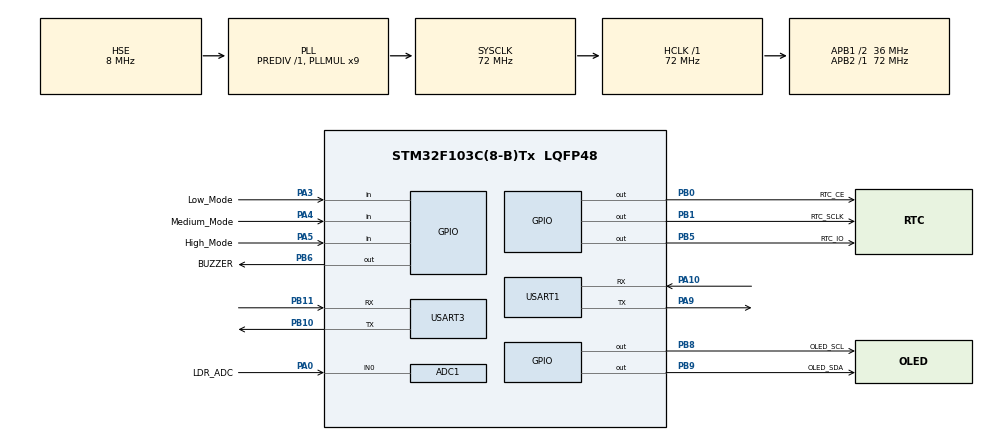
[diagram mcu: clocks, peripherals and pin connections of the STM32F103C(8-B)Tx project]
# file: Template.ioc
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ADC1.Channel-0\#ChannelRegularConversion=ADC_CHANNEL_0
ADC1.ExternalTrigConv=ADC_EXTERNALTRIGCONV_T3_TRGO
ADC1.NbrOfConversionFlag=1
ADC1.Rank-0\#ChannelRegularConversion=1
ADC1.SamplingTime-0\#ChannelRegularConversion=ADC_SAMPLETIME_239CYCLES_5
ADC1.master=1
Dma.ADC1.2.Direction=DMA_PERIPH_TO_MEMORY
Dma.ADC1.2.Instance=DMA1_Channel1
Dma.ADC1.2.MemDataAlignment=DMA_MDATAALIGN_HALFWORD
Dma.ADC1.2.MemInc=DMA_MINC_ENABLE
Dma.ADC1.2.Mode=DMA_CIRCULAR
Dma.ADC1.2.PeriphDataAlignment=DMA_PDATAALIGN_HALFWORD
Dma.ADC1.2.PeriphInc=DMA_PINC_DISABLE
Dma.ADC1.2.Priority=DMA_PRIORITY_HIGH
Dma.Request0=USART1_RX
Dma.Request1=USART1_TX
Dma.Request2=ADC1
Dma.USART1_RX.0.Direction=DMA_PERIPH_TO_MEMORY
Dma.USART1_RX.0.Instance=DMA1_Channel5
Dma.USART1_RX.0.MemDataAlignment=DMA_MDATAALIGN_BYTE
Dma.USART1_RX.0.MemInc=DMA_MINC_ENABLE
Dma.USART1_RX.0.Mode=DMA_NORMAL
Dma.USART1_RX.0.PeriphDataAlignment=DMA_PDATAALIGN_BYTE
Dma.USART1_RX.0.PeriphInc=DMA_PINC_DISABLE
Dma.USART1_RX.0.Priority=DMA_PRIORITY_HIGH
Dma.USART1_TX.1.Direction=DMA_MEMORY_TO_PERIPH
Dma.USART1_TX.1.Instance=DMA1_Channel4
Dma.USART1_TX.1.MemDataAlignment=DMA_MDATAALIGN_BYTE
Dma.USART1_TX.1.MemInc=DMA_MINC_ENABLE
Dma.USART1_TX.1.Mode=DMA_NORMAL
Dma.USART1_TX.1.PeriphDataAlignment=DMA_PDATAALIGN_BYTE
Dma.USART1_TX.1.PeriphInc=DMA_PINC_DISABLE
Dma.USART1_TX.1.Priority=DMA_PRIORITY_HIGH
Mcu.Family=STM32F1
Mcu.Name=STM32F103C(8-B)Tx
Mcu.Package=LQFP48
NVIC.DMA1_Channel1_IRQn=true\:1\:0\:false\:false\:true\:false\:true\:true
NVIC.DMA1_Channel4_IRQn=true\:0\:0\:false\:false\:true\:false\:true\:true
NVIC.DMA1_Channel5_IRQn=true\:0\:0\:false\:false\:true\:false\:true\:true
NVIC.PriorityGroup=NVIC_PRIORITYGROUP_4
NVIC.USART3_IRQn=true\:2\:0\:true\:false\:true\:true\:true\:true
PA0-WKUP.GPIO_Label=LDR_ADC
PA0-WKUP.Signal=ADCx_IN0
PA10.Mode=Asynchronous
PA10.Signal=USART1_RX
PA13.Mode=Serial_Wire
PA13.Signal=SYS_JTMS-SWDIO
PA14.Mode=Serial_Wire
PA14.Signal=SYS_JTCK-SWCLK
PA3.GPIO_Label=Low_Mode
PA3.GPIO_PuPd=GPIO_PULLUP
PA3.Signal=GPIO_Input
PA4.GPIO_Label=Medium_Mode
PA4.GPIO_PuPd=GPIO_PULLUP
PA4.Signal=GPIO_Input
PA5.GPIO_Label=High_Mode
PA5.GPIO_PuPd=GPIO_PULLUP
PA5.Signal=GPIO_Input
PA9.Mode=Asynchronous
PA9.Signal=USART1_TX
PB0.GPIO_Label=RTC_CE
PB0.Signal=GPIO_Output
PB1.GPIO_Label=RTC_SCLK
PB1.Signal=GPIO_Output
PB10.Mode=Asynchronous
PB10.Signal=USART3_TX
PB11.Mode=Asynchronous
PB11.Signal=USART3_RX
PB5.GPIO_Label=RTC_IO
PB5.GPIO_ModeDefaultOutputPP=GPIO_MODE_OUTPUT_OD
PB5.PinState=GPIO_PIN_SET
PB5.Signal=GPIO_Output
PB6.GPIO_Label=BUZZER
PB6.GPIO_ModeDefaultOutputPP=GPIO_MODE_OUTPUT_PP
PB6.PinState=GPIO_PIN_RESET
PB6.Signal=GPIO_Output
PB8.GPIO_Label=OLED_SCL
PB8.GPIO_ModeDefaultOutputPP=GPIO_MODE_OUTPUT_OD
PB8.PinState=GPIO_PIN_SET
PB8.Signal=GPIO_Output
PB9.GPIO_Label=OLED_SDA
PB9.GPIO_ModeDefaultOutputPP=GPIO_MODE_OUTPUT_OD
PB9.PinState=GPIO_PIN_SET
PB9.Signal=GPIO_Output
PD0-OSC_IN.Mode=HSE-External-Oscillator
PD0-OSC_IN.Signal=RCC_OSC_IN
PD1-OSC_OUT.Mode=HSE-External-Oscillator
PD1-OSC_OUT.Signal=RCC_OSC_OUT
ProjectManager.HeapSize=0x200
ProjectManager.StackSize=0x400
ProjectManager.TargetToolchain=MDK-ARM V5.32
RCC.ADCPresc=RCC_ADCPCLK2_DIV6
RCC.AHBFreq_Value=72000000
RCC.APB1CLKDivider=RCC_HCLK_DIV2
RCC.APB1Freq_Value=36000000
RCC.APB1TimFreq_Value=72000000
RCC.APB2Freq_Value=72000000
RCC.APB2TimFreq_Value=72000000
RCC.HCLKFreq_Value=72000000
RCC.PLLMUL=RCC_PLL_MUL9
RCC.PLLSourceVirtual=RCC_PLLSOURCE_HSE
RCC.SYSCLKFreq_VALUE=72000000
RCC.SYSCLKSource=RCC_SYSCLKSOURCE_PLLCLK
RCC.USBFreq_Value=72000000
SH.ADCx_IN0.0=ADC1_IN0,IN0
TIM3.Period=999
TIM3.Prescaler=71
TIM3.TIM_MasterOutputTrigger=TIM_TRGO_UPDATE
USART1.VirtualMode=VM_ASYNC
USART3.VirtualMode=VM_ASYNC
VP_TIM3_VS_ClockSourceINT.Mode=Internal
board=custom

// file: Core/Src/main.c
/* USER CODE BEGIN Header */
/**
  ******************************************************************************
  * @file           : main.c
  * @brief          : Main program body
  ******************************************************************************
  * @attention
  *
  * Copyright (c) 2026 STMicroelectronics.
  * All rights reserved.
  *
  * This software is licensed under terms that can be found in the LICENSE file
  * in the root directory of this software component.
  * If no LICENSE file comes with this software, it is provided AS-IS.
  *
  ******************************************************************************
  */
/* USER CODE END Header */
#include "main.h"
#include "adc.h"
#include "dma.h"
#include "tim.h"
#include "usart.h"
#include "gpio.h"

/* USER CODE BEGIN Includes */
#include "LdrAdc.h"
#include "LdrReceiver.h"
#include "button.h"
#include "buzzer.h"
#include "DS1302.h"
#include "ESP8266.h"
#include "MessageService.h"
#include "ReceiverDisplay.h"
#include <stdio.h>
/* USER CODE END Includes */

void SystemClock_Config(void);

/* USER CODE BEGIN 0 */
/* Downlink C1 frame (ProtocolConfig four-tuple) from the gateway: apply via
 * LdrReceiver, which keeps the old configuration on any invalid value. */
static void ApplyProtocolConfig(uint32_t t_ms, uint32_t dash_t,
                                uint32_t word_gap_t, uint32_t msg_gap_t)
{
  (void)LdrReceiver_SetProtocolParams(t_ms, dash_t, word_gap_t, msg_gap_t);
}
/* USER CODE END 0 */

int main(void)
{

  /* USER CODE BEGIN 1 */
  LdrAdcStatus ldr_status;
  uint32_t now_ms;
  uint32_t selected_t_ms;
  bool rtc_present;
  /* USER CODE END 1 */

  /* MCU Configuration--------------------------------------------------------*/

  /* Reset of all peripherals, Initializes the Flash interface and the Systick. */
  HAL_Init();

  /* Configure the system clock */
  SystemClock_Config();

  /* Initialize all configured peripherals */
  MX_GPIO_Init();
  MX_DMA_Init();
  MX_USART1_UART_Init();
  MX_ADC1_Init();
  MX_TIM3_Init();
  MX_USART3_UART_Init();
  /* USER CODE BEGIN 2 */
  Buzzer_Init();
  Button_Init(HAL_GetTick());
  rtc_present = DS1302_Init();
  ldr_status = LdrAdc_Init();
  if (ldr_status != LDR_ADC_OK)
  {
    printf("LDR ADC init failed: %u\r\n", (unsigned int)ldr_status);
    Error_Handler();
  }
  LdrReceiver_Init();
  MessageService_Init(rtc_present);
  if (!ESP8266_Init(DEVICE_ADDRESS, MessageService_GetBootCounter()))
  {
    printf("[NET] USART3 receive start failed; optical receiver continues.\r\n");
  }
  ESP8266_SetTimeHandler(MessageService_SetNetworkTime);
  ESP8266_SetConfigHandler(ApplyProtocolConfig);
  ReceiverDisplay_Init(HAL_GetTick());
  ldr_status = LdrAdc_Start();
  if (ldr_status != LDR_ADC_OK)
  {
    printf("LDR ADC start failed: %u\r\n", (unsigned int)ldr_status);
    Error_Handler();
  }
  /* USER CODE END 2 */

  /* Infinite loop */
  while (1)
  {

    /* USER CODE BEGIN 3 */
    LdrReceiver_Process();
    now_ms = HAL_GetTick();
    if (Button_Poll(now_ms, &selected_t_ms))
    {
      (void)LdrReceiver_SetDotTimeMs(selected_t_ms);
    }
    Buzzer_Process(now_ms);
    ESP8266_Process(now_ms);
    ReceiverDisplay_Process(now_ms);
    __WFI();
  }
  /* USER CODE END 3 */
}

void SystemClock_Config(void)
{
  RCC_OscInitTypeDef RCC_OscInitStruct = {0};
  RCC_ClkInitTypeDef RCC_ClkInitStruct = {0};
  RCC_PeriphCLKInitTypeDef PeriphClkInit = {0};

  /** Initializes the RCC Oscillators according to the specified parameters
  * in the RCC_OscInitTypeDef structure.
  */
  RCC_OscInitStruct.OscillatorType = RCC_OSCILLATORTYPE_HSE;
  RCC_OscInitStruct.HSEState = RCC_HSE_ON;
  RCC_OscInitStruct.HSEPredivValue = RCC_HSE_PREDIV_DIV1;
  RCC_OscInitStruct.HSIState = RCC_HSI_ON;
  RCC_OscInitStruct.PLL.PLLState = RCC_PLL_ON;
  RCC_OscInitStruct.PLL.PLLSource = RCC_PLLSOURCE_HSE;
  RCC_OscInitStruct.PLL.PLLMUL = RCC_PLL_MUL9;
  if (HAL_RCC_OscConfig(&RCC_OscInitStruct) != HAL_OK)
  {
    Error_Handler();
  }

  /** Initializes the CPU, AHB and APB buses clocks
  */
  RCC_ClkInitStruct.ClockType = RCC_CLOCKTYPE_HCLK|RCC_CLOCKTYPE_SYSCLK
                              |RCC_CLOCKTYPE_PCLK1|RCC_CLOCKTYPE_PCLK2;
  RCC_ClkInitStruct.SYSCLKSource = RCC_SYSCLKSOURCE_PLLCLK;
  RCC_ClkInitStruct.AHBCLKDivider = RCC_SYSCLK_DIV1;
  RCC_ClkInitStruct.APB1CLKDivider = RCC_HCLK_DIV2;
  RCC_ClkInitStruct.APB2CLKDivider = RCC_HCLK_DIV1;

  if (HAL_RCC_ClockConfig(&RCC_ClkInitStruct, FLASH_LATENCY_2) != HAL_OK)
  {
    Error_Handler();
  }
  PeriphClkInit.PeriphClockSelection = RCC_PERIPHCLK_ADC;
  PeriphClkInit.AdcClockSelection = RCC_ADCPCLK2_DIV6;
  if (HAL_RCCEx_PeriphCLKConfig(&PeriphClkInit) != HAL_OK)
  {
    Error_Handler();
  }
}

void Error_Handler(void)
{
  __disable_irq();
  while (1)
  {
  }
}
